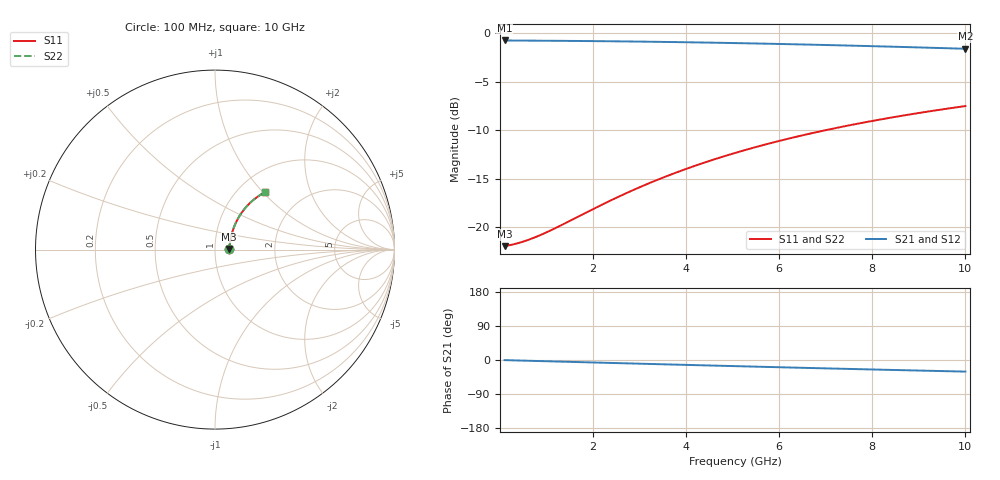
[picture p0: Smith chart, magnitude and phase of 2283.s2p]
# Hz S RI R 50.00
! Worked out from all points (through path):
!   100 points, 100 MHz to 10 GHz, reference 50 ohm
!   highest |S21| = -0.72 dB at 100 MHz (marker M1); lowest = -1.6 dB at 10 GHz (marker M2)
!   group delay of S21, straight-line fit = 8.53 ps
!   lowest |S11| = -22.0 dB at 100 MHz (marker M3), VSWR 1.17, Z = 58.6 + j0.497 ohm
!   |S11| at or under -10 dB: start of sweep to 6.987 GHz
!   |S22| runs from -22.0 to -7.5 dB; largest |S21 - S12| = 0
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1e8  0.0796 0.00421  0.9204 -0.00526  0.9204 -0.00526  0.0796 0.00421
4e8  0.0811 0.0168  0.9189 -0.021  0.9189 -0.021  0.0811 0.0168
6e8  0.082 0.0251  0.918 -0.0314  0.918 -0.0314  0.082 0.0251
8e8  0.083 0.0334  0.9169 -0.0418  0.9169 -0.0418  0.083 0.0334
1e9  0.0842 0.0417  0.9158 -0.0522  0.9158 -0.0522  0.0842 0.0417
1.2e9  0.0855 0.05  0.9144 -0.0626  0.9144 -0.0626  0.0855 0.05
1.8e9  0.0904 0.0745  0.9094 -0.0934  0.9094 -0.0934  0.0904 0.0745
2.2e9  0.0944 0.0905  0.9053 -0.1136  0.9053 -0.1136  0.0944 0.0905
2.6e9  0.0992 0.1064  0.9004 -0.1336  0.9004 -0.1336  0.0992 0.1064
3e9  0.1045 0.1219  0.8949 -0.1534  0.8949 -0.1534  0.1045 0.1219
3.4e9  0.1106 0.137  0.8887 -0.1728  0.8887 -0.1728  0.1106 0.137
3.8e9  0.1172 0.1519  0.8819 -0.1918  0.8819 -0.1918  0.1172 0.1519
4.2e9  0.1244 0.1663  0.8745 -0.2104  0.8745 -0.2104  0.1244 0.1663
4.6e9  0.1322 0.1803  0.8665 -0.2286  0.8665 -0.2286  0.1322 0.1803
5.1e9  0.1427 0.1971  0.8557 -0.2508  0.8557 -0.2508  0.1427 0.1971
5.5e9  0.1517 0.2101  0.8465 -0.2679  0.8465 -0.2679  0.1517 0.2101
5.9e9  0.1611 0.2225  0.8368 -0.2846  0.8368 -0.2846  0.1611 0.2225
6.7e9  0.1812 0.2458  0.8161 -0.3164  0.8161 -0.3164  0.1812 0.2458
7.5e9  0.2028 0.267  0.7939 -0.3461  0.7939 -0.3461  0.2028 0.267
8.4e9  0.2284 0.2881  0.7675 -0.3768  0.7675 -0.3768  0.2284 0.2881
9.2e9  0.2521 0.3044  0.743 -0.4017  0.743 -0.4017  0.2521 0.3044
1e10  0.2764 0.3185  0.7177 -0.4244  0.7177 -0.4244  0.2764 0.3185
